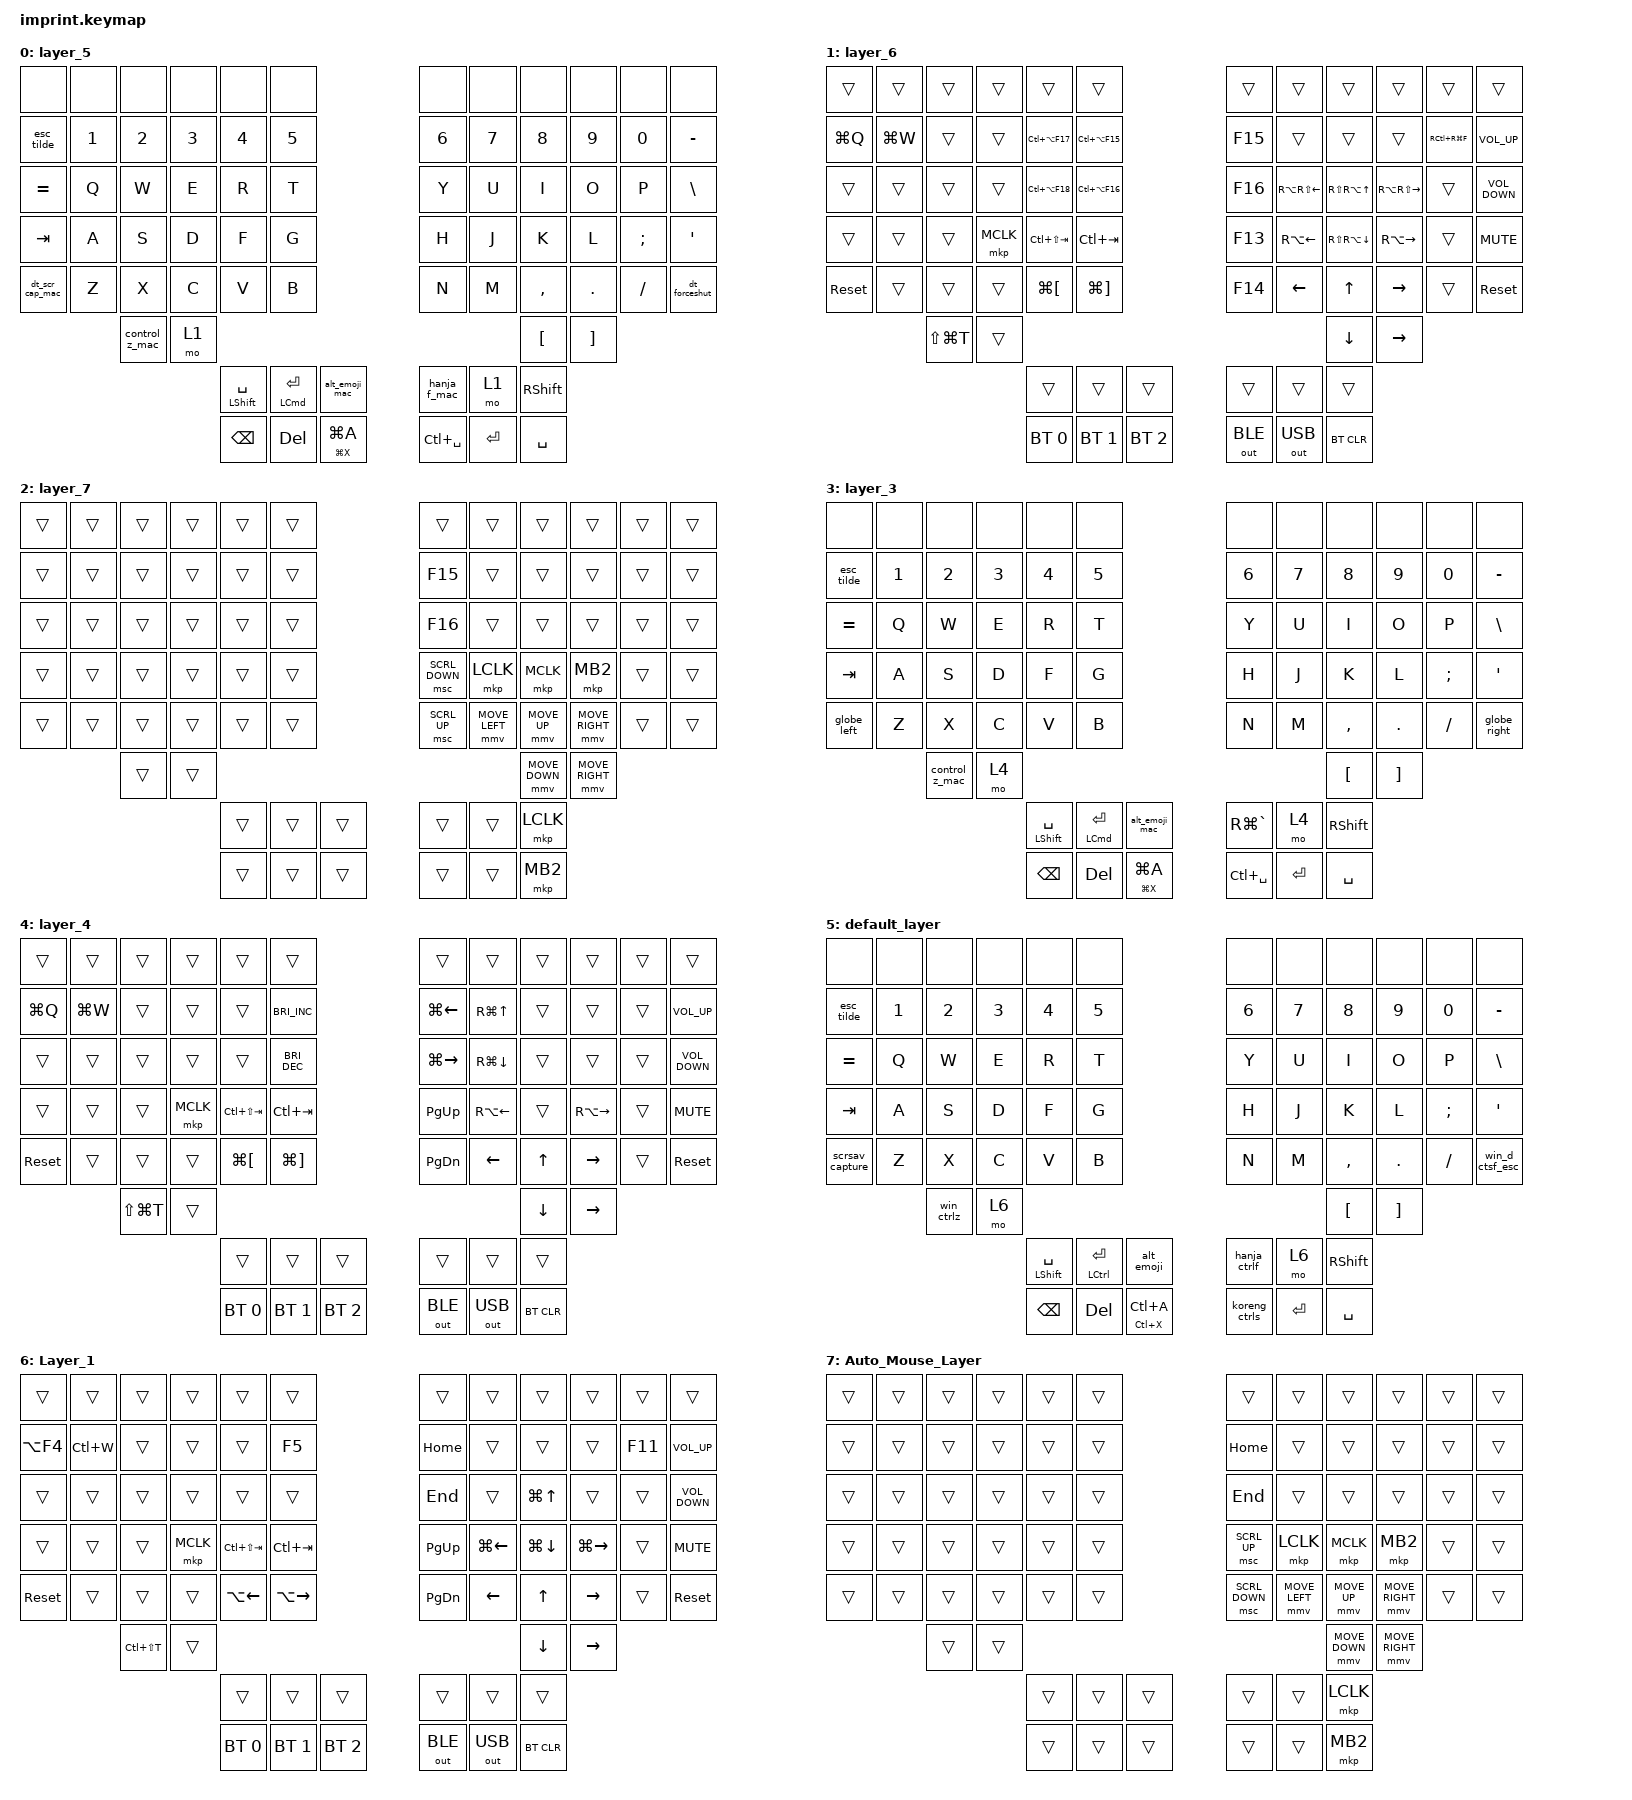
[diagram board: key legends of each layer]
#include <behaviors.dtsi>
#include <dt-bindings/zmk/bt.h>
#include <dt-bindings/zmk/keys.h>
#include <dt-bindings/zmk/outputs.h>
#include <dt-bindings/zmk/pointing.h>

/ {
    chosen { zmk,matrix-transform = &imprint_function_row; };

    behaviors {
        win_d_ctsf_esc: win_d_ctsf_esc {
            compatible = "zmk,behavior-tap-dance";
            label = "WIN_D_CTSF_ESC";
            #binding-cells = <0>;
            bindings = <&kp LG(D)>, <&kp LC(LS(ESCAPE))>;

            tapping-term-ms = <300>;
        };

        hanja_ctrlf: hanja_ctrlf {
            compatible = "zmk,behavior-tap-dance";
            label = "HANJA_CTRLF";
            #binding-cells = <0>;
            bindings = <&kp LANGUAGE_2>, <&kp LC(F)>;

            tapping-term-ms = <300>;
        };

        alt_emoji: alt_emoji {
            compatible = "zmk,behavior-tap-dance";
            label = "ALT_EMOJI";
            #binding-cells = <0>;
            bindings = <&kp LEFT_ALT>, <&kp LG(PERIOD)>;

            tapping-term-ms = <300>;
        };

        koreng_ctrls: koreng_ctrls {
            compatible = "zmk,behavior-tap-dance";
            label = "KORENG_CTRLS";
            #binding-cells = <0>;
            bindings = <&kp LANG_HANGEUL>, <&kp LC(S)>;

            tapping-term-ms = <300>;
        };

        esc_tilde: esc_tilde {
            compatible = "zmk,behavior-mod-morph";
            label = "ESC_TILDE";
            bindings = <&kp ESC>, <&kp TILDE>;

            #binding-cells = <0>;
            mods = <(MOD_LSFT|MOD_RSFT)>;
        };

        mo_tog_layer: mo_tog_layer {
            compatible = "zmk,behavior-hold-tap";
            label = "MO_TOG_LAYER";
            bindings = <&mo>, <&tog>;

            #binding-cells = <2>;
            tapping-term-ms = <200>;
            quick-tap-ms = <200>;
            flavor = "tap-preferred";
        };

        scrsav_capture: scrsav_capture {
            compatible = "zmk,behavior-tap-dance";
            label = "SCRSAV_CAPTURE";
            #binding-cells = <0>;
            bindings = <&none>, <&kp LA(LC(M))>, <&kp LG(PRINTSCREEN)>;

            tapping-term-ms = <300>;
        };

        win_ctrlz: win_ctrlz {
            compatible = "zmk,behavior-tap-dance";
            label = "WIN_CTRLZ";
            #binding-cells = <0>;
            bindings = <&kp LEFT_GUI>, <&kp LC(Z)>;

            tapping-term-ms = <300>;
        };

        alt_emoji_mac: alt_emoji_mac {
            compatible = "zmk,behavior-tap-dance";
            label = "ALT_EMOJI_MAC";
            #binding-cells = <0>;
            bindings = <&kp LEFT_ALT>, <&kp RC(RG(SPACE))>;

            tapping-term-ms = <300>;
        };

        control_z_mac: control_z_mac {
            compatible = "zmk,behavior-tap-dance";
            label = "CONTROL_Z_MAC";
            #binding-cells = <0>;
            bindings = <&kp LEFT_CONTROL>, <&kp LG(Z)>;

            tapping-term-ms = <300>;
        };

        hanja_f_mac: hanja_f_mac {
            compatible = "zmk,behavior-tap-dance";
            label = "HANJA_F_MAC";
            #binding-cells = <0>;
            bindings = <&kp RA(ENTER)>, <&kp RG(F)>;

            tapping-term-ms = <300>;
        };

        dt_forceshut: dt_forceshut {
            compatible = "zmk,behavior-tap-dance";
            label = "DT_FORCESHUT";
            #binding-cells = <0>;
            bindings = <&kp RC(RIGHT_ARROW)>, <&kp RA(RG(ESC))>;

            tapping-term-ms = <300>;
        };

        dt_scr_cap_mac: dt_scr_cap_mac {
            compatible = "zmk,behavior-tap-dance";
            label = "DT_SCR_CAP_MAC";
            #binding-cells = <0>;
            bindings = <&kp LC(LEFT_ARROW)>, <&kp LC(LA(M))>, <&kp LS(LG(N3))>;

            tapping-term-ms = <300>;
        };
    };

    macros {
        globe_left: globe_left {
            compatible = "zmk,behavior-macro";
            #binding-cells = <0>;
            wait-ms = <200>;
            tap-ms = <50>;
            bindings =
                <&macro_press>,
                <&kp CAPS>,
                <&macro_tap>,
                <&kp LEFT>,
                <&macro_release>,
                <&kp CAPS>;
        };

        globe_right: globe_right {
            compatible = "zmk,behavior-macro";
            #binding-cells = <0>;
            wait-ms = <200>;
            tap-ms = <50>;
            bindings =
                <&macro_press>,
                <&kp CAPS>,
                <&macro_tap>,
                <&kp RIGHT>,
                <&macro_release>,
                <&kp CAPS>;
        };
    };

    combos {
        compatible = "zmk,combos";

        quote_combo {
            timeout-ms = <40>;
            key-positions = <44 45>;
            bindings = <&kp RS(APOSTROPHE)>;
        };

        ctrlv_combo {
            bindings = <&kp LC(V)>;
            key-positions = <52 53>;
            timeout-ms = <40>;
            layers = <5 6 7>;
        };

        altesc_combo {
            bindings = <&kp LA(ESC)>;
            key-positions = <16 17>;
            timeout-ms = <40>;
            layers = <5 6 7>;
        };

        mouse_to_center {
            bindings = <&kp LS(LA(LC(F12)))>;
            key-positions = <18 19>;
        };

        refresh {
            bindings = <&kp F5>;
            key-positions = <29 17>;
            layers = <5 6 7>;
        };

        ctrl_tab {
            bindings = <&kp LC(TAB)>;
            key-positions = <28 27>;
        };

        ctrl_sft_tab {
            bindings = <&kp LC(LS(TAB))>;
            key-positions = <27 26>;
        };

        ctrlc_combo {
            bindings = <&kp LC(C)>;
            key-positions = <61 52>;
            timeout-ms = <40>;
            layers = <5 6 7>;
        };

        mouse_tog {
            bindings = <&tog 7>;
            key-positions = <69 73>;
            timeout-ms = <40>;
            layers = <5 6 7>;
        };

        command_c {
            bindings = <&kp LG(C)>;
            key-positions = <61 52>;
            layers = <3 4 0 1 2>;
            timeout-ms = <40>;
        };

        command_v {
            bindings = <&kp LG(V)>;
            key-positions = <52 53>;
            layers = <3 4 0 1 2>;
            timeout-ms = <40>;
        };

        macos_layer {
            bindings = <&to 0>;
            key-positions = <48 59>;
        };

        refresh_mac {
            bindings = <&kp LG(R)>;
            key-positions = <17 29>;
            layers = <3 4 0 1 2>;
        };

        appswitch {
            bindings = <&kp LG(TAB)>;
            key-positions = <17 16>;
            layers = <0 1>;
            timeout-ms = <40>;
        };

        mouse_mac {
            bindings = <&tog 2>;
            key-positions = <69 73>;
            layers = <3 4 0 1 2>;
            timeout-ms = <40>;
        };

        ipad_layer {
            bindings = <&to 3>;
            key-positions = <49 58>;
        };

        win_layer {
            bindings = <&to 5>;
            key-positions = <60 63>;
        };

        enter_combo {
            bindings = <&kp ENTER>;
            key-positions = <43 44>;
        };
    };

    keymap {
        compatible = "zmk,keymap";

        layer_5 {
            bindings = <
&none            &none   &none           &none   &none             &none                                      &none          &none      &none            &none              &none     &none
&esc_tilde       &kp N1  &kp N2          &kp N3  &kp N4            &kp N5                                     &kp N6         &kp N7     &kp N8           &kp N9             &kp N0    &kp MINUS
&kp EQUAL        &kp Q   &kp W           &kp E   &kp R             &kp T                                      &kp Y          &kp U      &kp I            &kp O              &kp P     &kp BSLH
&kp TAB          &kp A   &kp S           &kp D   &kp F             &kp G                                      &kp H          &kp J      &kp K            &kp L              &kp SEMI  &kp SQT
&dt_scr_cap_mac  &kp Z   &kp X           &kp C   &kp V             &kp B                                      &kp N          &kp M      &kp COMMA        &kp DOT            &kp FSLH  &dt_forceshut
                         &control_z_mac  &mo 1                                                                                          &kp LBKT         &kp RIGHT_BRACKET
                                                 &mt LSHIFT SPACE  &mt LEFT_COMMAND ENTER  &alt_emoji_mac     &hanja_f_mac   &mo 1      &kp RIGHT_SHIFT
                                                 &kp BACKSPACE     &kp DELETE              &mt LG(X) LG(A)    &kp LC(SPACE)  &kp ENTER  &kp SPACE
            >;
        };

        layer_6 {
            bindings = <
&trans      &trans     &trans         &trans     &trans                &trans                                 &trans        &trans                  &trans                  &trans                   &trans         &trans
&kp LG(Q)   &kp LG(W)  &trans         &trans     &kp LC(LA(F17))       &kp LC(LA(F15))                        &kp F15       &trans                  &trans                  &trans                   &kp RC(RG(F))  &kp C_VOLUME_UP
&trans      &trans     &trans         &trans     &kp LC(LA(F18))       &kp LC(LA(F16))                        &kp F16       &kp RA(RS(LEFT_ARROW))  &kp RS(RA(UP_ARROW))    &kp RA(RS(RIGHT_ARROW))  &trans         &kp C_VOLUME_DOWN
&trans      &trans     &trans         &mkp MCLK  &kp LC(LS(TAB))       &kp LC(TAB)                            &kp F13       &kp RA(LEFT_ARROW)      &kp RS(RA(DOWN_ARROW))  &kp RA(RIGHT_ARROW)      &trans         &kp C_MUTE
&sys_reset  &trans     &trans         &trans     &kp LG(LEFT_BRACKET)  &kp LG(RIGHT_BRACKET)                  &kp F14       &kp LEFT                &kp UP_ARROW            &kp RIGHT                &trans         &sys_reset
                       &kp LS(LG(T))  &trans                                                                                                        &kp DOWN                &kp RIGHT
                                                 &trans                &trans                 &trans          &trans        &trans                  &trans
                                                 &bt BT_SEL 0          &bt BT_SEL 1           &bt BT_SEL 2    &out OUT_BLE  &out OUT_USB            &bt BT_CLR
            >;
        };

        layer_7 {
            bindings = <
&trans  &trans  &trans  &trans  &trans  &trans            &trans          &trans          &trans          &trans           &trans  &trans
&trans  &trans  &trans  &trans  &trans  &trans            &kp F15         &trans          &trans          &trans           &trans  &trans
&trans  &trans  &trans  &trans  &trans  &trans            &kp F16         &trans          &trans          &trans           &trans  &trans
&trans  &trans  &trans  &trans  &trans  &trans            &msc SCRL_DOWN  &mkp LCLK       &mkp MCLK       &mkp MB2         &trans  &trans
&trans  &trans  &trans  &trans  &trans  &trans            &msc SCRL_UP    &mmv MOVE_LEFT  &mmv MOVE_UP    &mmv MOVE_RIGHT  &trans  &trans
                &trans  &trans                                                            &mmv MOVE_DOWN  &mmv MOVE_RIGHT
                                &trans  &trans  &trans    &trans          &trans          &mkp LCLK
                                &trans  &trans  &trans    &trans          &trans          &mkp MB2
            >;
        };

        layer_3 {
            bindings = <
&none        &none   &none           &none   &none             &none                                      &none          &none      &none            &none              &none     &none
&esc_tilde   &kp N1  &kp N2          &kp N3  &kp N4            &kp N5                                     &kp N6         &kp N7     &kp N8           &kp N9             &kp N0    &kp MINUS
&kp EQUAL    &kp Q   &kp W           &kp E   &kp R             &kp T                                      &kp Y          &kp U      &kp I            &kp O              &kp P     &kp BSLH
&kp TAB      &kp A   &kp S           &kp D   &kp F             &kp G                                      &kp H          &kp J      &kp K            &kp L              &kp SEMI  &kp SQT
&globe_left  &kp Z   &kp X           &kp C   &kp V             &kp B                                      &kp N          &kp M      &kp COMMA        &kp DOT            &kp FSLH  &globe_right
                     &control_z_mac  &mo 4                                                                                          &kp LBKT         &kp RIGHT_BRACKET
                                             &mt LSHIFT SPACE  &mt LEFT_COMMAND ENTER  &alt_emoji_mac     &kp RG(GRAVE)  &mo 4      &kp RIGHT_SHIFT
                                             &kp BACKSPACE     &kp DELETE              &mt LG(X) LG(A)    &kp LC(SPACE)  &kp ENTER  &kp SPACE
            >;
        };

        layer_4 {
            bindings = <
&trans      &trans     &trans         &trans     &trans                &trans                                 &trans               &trans              &trans        &trans               &trans  &trans
&kp LG(Q)   &kp LG(W)  &trans         &trans     &trans                &kp C_BRIGHTNESS_INC                   &kp LG(LEFT_ARROW)   &kp RG(UP_ARROW)    &trans        &trans               &trans  &kp C_VOLUME_UP
&trans      &trans     &trans         &trans     &trans                &kp C_BRIGHTNESS_DEC                   &kp LG(RIGHT_ARROW)  &kp RG(DOWN)        &trans        &trans               &trans  &kp C_VOLUME_DOWN
&trans      &trans     &trans         &mkp MCLK  &kp LC(LS(TAB))       &kp LC(TAB)                            &kp PAGE_UP          &kp RA(LEFT_ARROW)  &trans        &kp RA(RIGHT_ARROW)  &trans  &kp C_MUTE
&sys_reset  &trans     &trans         &trans     &kp LG(LEFT_BRACKET)  &kp LG(RIGHT_BRACKET)                  &kp PAGE_DOWN        &kp LEFT            &kp UP_ARROW  &kp RIGHT            &trans  &sys_reset
                       &kp LS(LG(T))  &trans                                                                                                           &kp DOWN      &kp RIGHT
                                                 &trans                &trans                 &trans          &trans               &trans              &trans
                                                 &bt BT_SEL 0          &bt BT_SEL 1           &bt BT_SEL 2    &out OUT_BLE         &out OUT_USB        &bt BT_CLR
            >;
        };

        default_layer {
            bindings = <
&none            &none   &none       &none   &none             &none                               &none          &none      &none            &none              &none     &none
&esc_tilde       &kp N1  &kp N2      &kp N3  &kp N4            &kp N5                              &kp N6         &kp N7     &kp N8           &kp N9             &kp N0    &kp MINUS
&kp EQUAL        &kp Q   &kp W       &kp E   &kp R             &kp T                               &kp Y          &kp U      &kp I            &kp O              &kp P     &kp BSLH
&kp TAB          &kp A   &kp S       &kp D   &kp F             &kp G                               &kp H          &kp J      &kp K            &kp L              &kp SEMI  &kp SQT
&scrsav_capture  &kp Z   &kp X       &kp C   &kp V             &kp B                               &kp N          &kp M      &kp COMMA        &kp DOT            &kp FSLH  &win_d_ctsf_esc
                         &win_ctrlz  &mo 6                                                                                   &kp LBKT         &kp RIGHT_BRACKET
                                             &mt LSHIFT SPACE  &mt LCTRL ENTER  &alt_emoji         &hanja_ctrlf   &mo 6      &kp RIGHT_SHIFT
                                             &kp BACKSPACE     &kp DELETE       &mt LC(X) LC(A)    &koreng_ctrls  &kp ENTER  &kp SPACE
            >;
        };

        Layer_1 {
            bindings = <
&trans      &trans     &trans         &trans     &trans              &trans                               &trans         &trans              &trans              &trans               &trans   &trans
&kp LA(F4)  &kp LC(W)  &trans         &trans     &trans              &kp F5                               &kp HOME       &trans              &trans              &trans               &kp F11  &kp C_VOLUME_UP
&trans      &trans     &trans         &trans     &trans              &trans                               &kp END        &trans              &kp LG(UP_ARROW)    &trans               &trans   &kp C_VOLUME_DOWN
&trans      &trans     &trans         &mkp MCLK  &kp LC(LS(TAB))     &kp LC(TAB)                          &kp PAGE_UP    &kp LG(LEFT_ARROW)  &kp LG(DOWN_ARROW)  &kp LG(RIGHT_ARROW)  &trans   &kp C_MUTE
&sys_reset  &trans     &trans         &trans     &kp LA(LEFT_ARROW)  &kp LA(RIGHT_ARROW)                  &kp PAGE_DOWN  &kp LEFT            &kp UP_ARROW        &kp RIGHT            &trans   &sys_reset
                       &kp LC(LS(T))  &trans                                                                                                 &kp DOWN            &kp RIGHT
                                                 &trans              &trans               &trans          &trans         &trans              &trans
                                                 &bt BT_SEL 0        &bt BT_SEL 1         &bt BT_SEL 2    &out OUT_BLE   &out OUT_USB        &bt BT_CLR
            >;
        };

        Auto_Mouse_Layer {
            bindings = <
&trans  &trans  &trans  &trans  &trans  &trans            &trans          &trans          &trans          &trans           &trans  &trans
&trans  &trans  &trans  &trans  &trans  &trans            &kp HOME        &trans          &trans          &trans           &trans  &trans
&trans  &trans  &trans  &trans  &trans  &trans            &kp END         &trans          &trans          &trans           &trans  &trans
&trans  &trans  &trans  &trans  &trans  &trans            &msc SCRL_UP    &mkp LCLK       &mkp MCLK       &mkp MB2         &trans  &trans
&trans  &trans  &trans  &trans  &trans  &trans            &msc SCRL_DOWN  &mmv MOVE_LEFT  &mmv MOVE_UP    &mmv MOVE_RIGHT  &trans  &trans
                &trans  &trans                                                            &mmv MOVE_DOWN  &mmv MOVE_RIGHT
                                &trans  &trans  &trans    &trans          &trans          &mkp LCLK
                                &trans  &trans  &trans    &trans          &trans          &mkp MB2
            >;
        };
    };
};

&trackball_peripheral_split { status = "disabled"; };
